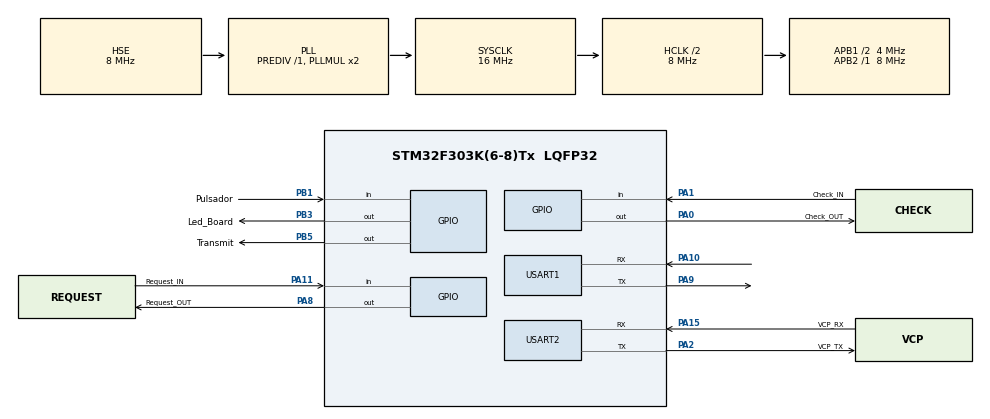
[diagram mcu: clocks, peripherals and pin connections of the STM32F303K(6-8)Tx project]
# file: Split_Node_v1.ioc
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Mcu.Family=STM32F3
Mcu.Name=STM32F303K(6-8)Tx
Mcu.Package=LQFP32
NVIC.PriorityGroup=NVIC_PRIORITYGROUP_4
NVIC.TIM7_DAC2_IRQn=true\:0\:0\:false\:false\:true\:true\:true
NVIC.USART1_IRQn=true\:0\:0\:false\:false\:true\:true\:true
PA0.GPIO_Label=Check_OUT
PA0.Signal=GPIO_Output
PA1.GPIO_Label=Check_IN
PA1.Signal=GPIO_Input
PA10.Mode=Asynchronous
PA10.Signal=USART1_RX
PA11.GPIO_Label=Request_IN
PA11.Signal=GPIO_Input
PA13.GPIO_Label=SWDIO
PA13.Mode=Serial_Wire
PA13.Signal=SYS_JTMS-SWDIO
PA14.GPIO_Label=SWCLK
PA14.Mode=Serial_Wire
PA14.Signal=SYS_JTCK-SWCLK
PA15.GPIO_Label=VCP_RX
PA15.Mode=Asynchronous
PA15.Signal=USART2_RX
PA2.GPIO_Label=VCP_TX
PA2.Mode=Asynchronous
PA2.Signal=USART2_TX
PA8.GPIO_Label=Request_OUT
PA8.Signal=GPIO_Output
PA9.Mode=Asynchronous
PA9.Signal=USART1_TX
PB1.GPIO_Label=Pulsador
PB1.Signal=GPIO_Input
PB3.GPIO_Label=Led_Board
PB3.Signal=GPIO_Output
PB5.GPIO_Label=Transmit
PB5.Signal=GPIO_Output
PF0\ /\ OSC_IN.GPIO_Label=MCO
PF0\ /\ OSC_IN.Mode=HSE-External-Oscillator
PF0\ /\ OSC_IN.Signal=RCC_OSC_IN
PF1\ /\ OSC_OUT.Mode=HSE-External-Oscillator
PF1\ /\ OSC_OUT.Signal=RCC_OSC_OUT
ProjectManager.HeapSize=0x200
ProjectManager.StackSize=0x400
ProjectManager.TargetToolchain=STM32CubeIDE
RCC.AHBCLKDivider=RCC_SYSCLK_DIV2
RCC.AHBFreq_Value=8000000
RCC.APB1CLKDivider=RCC_HCLK_DIV2
RCC.APB1Freq_Value=4000000
RCC.APB1TimFreq_Value=8000000
RCC.APB2Freq_Value=8000000
RCC.APB2TimFreq_Value=8000000
RCC.CortexFreq_Value=8000000
RCC.HCLKFreq_Value=8000000
RCC.HSE_VALUE=8000000
RCC.HSI_VALUE=8000000
RCC.PLLSourceVirtual=RCC_PLLSOURCE_HSE
RCC.SYSCLKFreq_VALUE=16000000
RCC.SYSCLKSourceVirtual=RCC_SYSCLKSOURCE_PLLCLK
TIM7.Period=10
TIM7.Prescaler=720
USART1.VirtualMode-Asynchronous=VM_ASYNC
USART2.VirtualMode-Asynchronous=VM_ASYNC
VP_TIM7_VS_ClockSourceINT.Mode=Enable_Timer
board=NUCLEO-F303K8

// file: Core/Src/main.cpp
/* USER CODE BEGIN Header */
/**
  ******************************************************************************
  * @file           : main.c
  * @brief          : Main program body
  ******************************************************************************
  * @attention
  *
  * <h2><center>&copy; Copyright (c) 2022 STMicroelectronics.
  * All rights reserved.</center></h2>
  *
  * This software component is licensed by ST under BSD 3-Clause license,
  * the "License"; You may not use this file except in compliance with the
  * License. You may obtain a copy of the License at:
  *                        opensource.org/licenses/BSD-3-Clause
  *
  ******************************************************************************
  */
/* USER CODE END Header */
#include "main.h"

/* USER CODE BEGIN Includes */
#include <stdint.h>
#include <stdio.h>
#include <string.h>

#include <prueba.h>

/* USER CODE END Includes */

TIM_HandleTypeDef htim7;

UART_HandleTypeDef huart1;
UART_HandleTypeDef huart2;

void SystemClock_Config(void);
static void MX_GPIO_Init(void);
static void MX_USART2_UART_Init(void);
static void MX_TIM7_Init(void);
static void MX_USART1_UART_Init(void);

/* USER CODE BEGIN 0 */

///////////////////////////////////////////////////////////////////////////////
///////////////////////////////////////////////////////////////////////////////

////////////--ID--//////////////////////

//ID actual node
uint8_t ID_node = 3;

//ID next node
uint8_t ID_next_node = 3;

//////////////////////////////////

//ID First node
uint8_t ID_first_node = 1;

//ID Final node
uint8_t ID_final_node = 3;

//ID Result node
uint8_t ID_result_node=0;

//Check if data is receive
uint8_t activate_data = 1;

//Listen Message Send
uint8_t Listen_msg_s[7];

//Listen Message Receive
uint8_t Listen_msg_r[7];

//Receive List
uint8_t receiveLIST[10];

// Send List
uint8_t sendLIST[10];

//Weight
double sendVAR = 0;

//Receive Var
double receiveVAR;

//Receive Weight split
uint8_t receiveWeight[8];

//Counter
uint8_t counterToggle2=0;

//Communication_Step
uint8_t Com_Step=0; // 0- Send to first node, 1- Send to next node
///////////////////////////////////////////////////////////////////////////////
///////////////////////////////////////////////////////////////////////////////

void HAL_UART_RxCpltCallback(UART_HandleTypeDef *huart) {
	while (HAL_UART_GetState(&huart1) == HAL_UART_STATE_BUSY_RX);
}

void HAL_UART_TxCpltCallback(UART_HandleTypeDef *huart) {
	while (HAL_UART_GetState(&huart1) == HAL_UART_STATE_BUSY_TX);
}

///////////////////////////////////////////////////////////////////////////////
///////////////////////////////////////////////////////////////////////////////
typedef enum{
	S0_HOME,

	S1_SEND_DATA_R,
	S1_SEND_DATA_R_Package,

	S2_RECE_DATA_R,
	S2_RECE_DATA_R_Package,
	S2_CHECK_Info,

	S3_END,

} STATES;

STATES NextState;

typedef union
{
    uint8_t split[8];
    double d_value;
} double_or_split;
///////////////////////////////////////////////////////////////////////////////
///////////////////////////////////////////////////////////////////////////////

/* USER CODE END 0 */

int main(void)
{

  /* MCU Configuration--------------------------------------------------------*/

  /* Reset of all peripherals, Initializes the Flash interface and the Systick. */
  HAL_Init();

  /* Configure the system clock */
  SystemClock_Config();

  /* Initialize all configured peripherals */
  MX_GPIO_Init();
  MX_USART2_UART_Init();
  MX_TIM7_Init();
  MX_USART1_UART_Init();
  /* USER CODE BEGIN 2 */

  /////////////////////////////////////////////////////
  // START COMUNICATION TIMER
  HAL_TIM_Base_Start_IT(&htim7);
  /////////////////////////////////////////////////////
  Listen_msg_s[0]=ID_first_node; //Next node
  Listen_msg_s[1]='s';
  Listen_msg_s[2]=ID_result_node; //Final to inference
  Listen_msg_s[3]=0; //Result
  Listen_msg_s[4]=0; //ValueResultA
  Listen_msg_s[5]=0; //ValueResultB
  Listen_msg_s[6]=0xAA;
  activate_data=0;

  double_or_split my_union= {0};

  NextState= S0_HOME;

  counterToggle2=0;

  sendVAR=Sebas();
  /////////////////////////////////////////////////////

  /* USER CODE END 2 */

  /* Infinite loop */
  /* USER CODE BEGIN WHILE */
  while (1){

	switch(NextState){

	/////////////////////////////////// HOME ////////////////////////////////////////////////////////
	case S0_HOME:
		Listen_msg_s[0]=ID_first_node;
		Listen_msg_s[2]=0;
		Listen_msg_s[3]=0;
		Listen_msg_s[4]=0;
		Listen_msg_s[5]=0;

		Listen_msg_r[0]=0;
		Listen_msg_r[1]=0;
		Listen_msg_r[2]=0;
		Listen_msg_r[3]=0;
		Listen_msg_r[4]=0;
		Listen_msg_r[5]=0;
		Listen_msg_r[6]=0;
		Listen_msg_r[7]=0;
		//Define Outputs
		HAL_GPIO_WritePin(Request_OUT_GPIO_Port, Request_OUT_Pin, GPIO_PIN_RESET);
		HAL_GPIO_WritePin(Check_OUT_GPIO_Port, Check_OUT_Pin, GPIO_PIN_RESET);

		//Define Events------------------
		//Receive Request
		if(HAL_GPIO_ReadPin(Request_IN_GPIO_Port, Request_IN_Pin)== GPIO_PIN_SET){
			NextState=S2_RECE_DATA_R;
		}
		//Capture Data Request
		else if(HAL_GPIO_ReadPin(Pulsador_GPIO_Port, Pulsador_Pin)==GPIO_PIN_SET){
			Listen_msg_s[2]=ID_node;
			ID_result_node=ID_node;
			if(ID_node==1)
			{
			Listen_msg_s[0]=ID_next_node;
			}
			NextState=S1_SEND_DATA_R;
		}
		else{
			NextState=S0_HOME;
		}
		break;

	/////////////////////////////////// TRANSMIT REQUEST ////////////////////////////////////////////////
	case S1_SEND_DATA_R:
		//Define Outputs
		HAL_GPIO_WritePin(Request_OUT_GPIO_Port, Request_OUT_Pin, GPIO_PIN_SET);
		HAL_GPIO_WritePin(Check_OUT_GPIO_Port, Check_OUT_Pin, GPIO_PIN_RESET);

		if(ID_node==ID_final_node && Listen_msg_s[3]==1)
		{
			//acabe
			if(HAL_GPIO_ReadPin(Check_IN_GPIO_Port, Check_IN_Pin)==GPIO_PIN_SET){
				counterToggle2=0;
				NextState=S3_END;
			}

		}
		else{
			//Define Events------------------
			if(HAL_GPIO_ReadPin(Check_IN_GPIO_Port, Check_IN_Pin)==GPIO_PIN_SET){
				NextState=S1_SEND_DATA_R_Package;
			}
			else{
				//HAL_GPIO_WritePin(Transmit_GPIO_Port, Transmit_Pin, GPIO_PIN_SET);
				//HAL_UART_Transmit(&huart1, Listen_msg_s, sizeof(Listen_msg_s),2000);
				NextState=S1_SEND_DATA_R;
			}
		}

		break;

	/////////////////////////////////// TRANSMIT DATA ///////////////////////////////////////////////////
	case S1_SEND_DATA_R_Package:
		//Define Outputs
		HAL_GPIO_WritePin(Request_OUT_GPIO_Port, Request_OUT_Pin, GPIO_PIN_SET);
		HAL_GPIO_WritePin(Check_OUT_GPIO_Port, Check_OUT_Pin, GPIO_PIN_RESET);

		//DO:
		sendVAR=1.98052;
		my_union.d_value = sendVAR;
		sendLIST[0]=0xAA;
		sendLIST[1]= my_union.split[0];
		sendLIST[2]= my_union.split[1];
		sendLIST[3]= my_union.split[2];
		sendLIST[4]= my_union.split[3];
		sendLIST[5]= my_union.split[4];
		sendLIST[6]= my_union.split[5];
		sendLIST[7]= my_union.split[6];
		sendLIST[8]= my_union.split[7];
		sendLIST[9]=0xAA;

		//HAL_GPIO_WritePin(Transmit_GPIO_Port, Transmit_Pin, GPIO_PIN_SET);
		//HAL_UART_Transmit(&huart1, sendLIST, sizeof(sendLIST),2000);

		//Define Events------------------
		if(HAL_GPIO_ReadPin(Check_IN_GPIO_Port, Check_IN_Pin)==GPIO_PIN_RESET){
			NextState=S0_HOME;
		}
		else{
			NextState=S1_SEND_DATA_R_Package;
		}
		break;

	/////////////////////////////////// RECEIVE REQUEST////////////////////////////////////////////////////////
	case S2_RECE_DATA_R:
		//Define Outputs
		HAL_GPIO_WritePin(Request_OUT_GPIO_Port, Request_OUT_Pin, GPIO_PIN_RESET);
		HAL_GPIO_WritePin(Check_OUT_GPIO_Port, Check_OUT_Pin, GPIO_PIN_RESET);

		//NextState=S0_HOME;
		//Enable for Receive Info
		if(HAL_UART_GetState(&huart1) != HAL_UART_STATE_BUSY)
		{
		if(Listen_msg_r[0]!=ID_node || Listen_msg_r[1]!='s'|| Listen_msg_r[6]!=0xAA){
		  //HAL_GPIO_WritePin(Enable_Msg_Transmit_GPIO_Port, Enable_Msg_Transmit_Pin, GPIO_PIN_RESET);
		  HAL_GPIO_WritePin(Transmit_GPIO_Port, Transmit_Pin, GPIO_PIN_RESET);
		  HAL_UART_Receive_IT(&huart1, Listen_msg_r, sizeof(Listen_msg_r));
			}
		}

		//Check receive request msg
		if(Listen_msg_r[0]==ID_node){
				if(Listen_msg_r[1]=='s'){
					if(Listen_msg_r[2]!=0){
						if(Listen_msg_r[6]==0xAA){

						ID_result_node=Listen_msg_r[2];

						//Receive All Data
						//Is final request with inference result?
						if(Listen_msg_r[3]==1)
						{
							HAL_GPIO_WritePin(Check_OUT_GPIO_Port, Check_OUT_Pin,GPIO_PIN_SET);
							NextState=S3_END;
							counterToggle2=0;
							break;
						}
						//Just one step in Queue
						else{
							Listen_msg_r[0]=0;
							Listen_msg_r[1]=0;
							Listen_msg_r[3]=0;
							Listen_msg_r[6]=0;
							NextState=S2_RECE_DATA_R_Package;
						}
					}}}}

		if(HAL_GPIO_ReadPin(Check_IN_GPIO_Port, Check_IN_Pin)==GPIO_PIN_SET)
		{
			NextState=S0_HOME;
		}
		break;

	/////////////////////////////////// RECEIVE DATA ////////////////////////////////////////////////////////
	case S2_RECE_DATA_R_Package:
	  //Define Outputs
	  HAL_GPIO_WritePin(Request_OUT_GPIO_Port, Request_OUT_Pin, GPIO_PIN_RESET);
	  HAL_GPIO_WritePin(Check_OUT_GPIO_Port, Check_OUT_Pin, GPIO_PIN_SET);

	  NextState=S2_RECE_DATA_R_Package;

	  //Enable for Receive Info
	  if(HAL_UART_GetState(&huart1) != HAL_UART_STATE_BUSY)
	  {
		if(receiveLIST[0]!=0xAA ||receiveLIST[9]!=0xAA ){
		  //HAL_GPIO_WritePin(Enable_Msg_Transmit_GPIO_Port, Enable_Msg_Transmit_Pin, GPIO_PIN_RESET);
		  HAL_GPIO_WritePin(Transmit_GPIO_Port, Transmit_Pin, GPIO_PIN_RESET);
		  HAL_UART_Receive_IT(&huart1, receiveLIST, sizeof(receiveLIST));
			}
	  }

		//Check receive request msg
		if(receiveLIST[0]==0xAA){
				if(receiveLIST[9]==0xAA){

					NextState= S2_CHECK_Info;

					receiveWeight[0]=receiveLIST[1];
					receiveWeight[1]=receiveLIST[2];
					receiveWeight[2]=receiveLIST[3];
					receiveWeight[3]=receiveLIST[4];
					receiveWeight[4]=receiveLIST[5];
					receiveWeight[5]=receiveLIST[6];
					receiveWeight[6]=receiveLIST[7];
					receiveWeight[7]=receiveLIST[8];

					memcpy(&receiveVAR,&receiveWeight,sizeof(receiveWeight));

					break;
				}
		}
		break;

	/////////////////////////////////// RECEIVE DATA ////////////////////////////////////////////////////////
	case S2_CHECK_Info:
		//Define Outputs
		  HAL_GPIO_WritePin(Request_OUT_GPIO_Port, Request_OUT_Pin, GPIO_PIN_RESET);
		  HAL_GPIO_WritePin(Check_OUT_GPIO_Port, Check_OUT_Pin, GPIO_PIN_RESET);

		  //Last node in NN Queue
		  if(ID_node==ID_final_node)
		  {
			  //This is the inference node?
			  if(ID_node==ID_result_node)
			  {
				  NextState=S3_END;
				  counterToggle2=0;
			  }
			  else{
		  //Send Result to final Node
			  Listen_msg_s[0]=ID_result_node;
			  Listen_msg_s[3]=1;
			  Listen_msg_s[2]=ID_result_node;
			  NextState=S1_SEND_DATA_R;
			  }
		  }
		else{
			Listen_msg_s[0]=ID_next_node;
			Listen_msg_s[2]=ID_result_node;
			NextState=S1_SEND_DATA_R;
		}
		break;

		/////////////////////////////////// END PROCESS ////////////////////////////////////////////////////////
	case S3_END:
		//Define Outputs
		HAL_GPIO_WritePin(Request_OUT_GPIO_Port, Request_OUT_Pin, GPIO_PIN_RESET);
		HAL_GPIO_WritePin(Check_OUT_GPIO_Port, Check_OUT_Pin, GPIO_PIN_RESET);

		if(counterToggle2<20)
		{
			HAL_GPIO_TogglePin(Led_Board_GPIO_Port, Led_Board_Pin);
			NextState=S3_END;
			counterToggle2=counterToggle2+1;
		}
		else
		{
			NextState=S0_HOME;
		}
		break;

	}

	HAL_Delay(10);

    /* USER CODE END WHILE */

  }
}

void SystemClock_Config(void)
{
  RCC_OscInitTypeDef RCC_OscInitStruct = {0};
  RCC_ClkInitTypeDef RCC_ClkInitStruct = {0};
  RCC_PeriphCLKInitTypeDef PeriphClkInit = {0};

  /** Initializes the RCC Oscillators according to the specified parameters
  * in the RCC_OscInitTypeDef structure.
  */
  RCC_OscInitStruct.OscillatorType = RCC_OSCILLATORTYPE_HSE;
  RCC_OscInitStruct.HSEState = RCC_HSE_ON;
  RCC_OscInitStruct.HSEPredivValue = RCC_HSE_PREDIV_DIV1;
  RCC_OscInitStruct.HSIState = RCC_HSI_ON;
  RCC_OscInitStruct.PLL.PLLState = RCC_PLL_ON;
  RCC_OscInitStruct.PLL.PLLSource = RCC_PLLSOURCE_HSE;
  RCC_OscInitStruct.PLL.PLLMUL = RCC_PLL_MUL2;
  if (HAL_RCC_OscConfig(&RCC_OscInitStruct) != HAL_OK)
  {
    Error_Handler();
  }
  /** Initializes the CPU, AHB and APB buses clocks
  */
  RCC_ClkInitStruct.ClockType = RCC_CLOCKTYPE_HCLK|RCC_CLOCKTYPE_SYSCLK
                              |RCC_CLOCKTYPE_PCLK1|RCC_CLOCKTYPE_PCLK2;
  RCC_ClkInitStruct.SYSCLKSource = RCC_SYSCLKSOURCE_PLLCLK;
  RCC_ClkInitStruct.AHBCLKDivider = RCC_SYSCLK_DIV2;
  RCC_ClkInitStruct.APB1CLKDivider = RCC_HCLK_DIV2;
  RCC_ClkInitStruct.APB2CLKDivider = RCC_HCLK_DIV1;

  if (HAL_RCC_ClockConfig(&RCC_ClkInitStruct, FLASH_LATENCY_0) != HAL_OK)
  {
    Error_Handler();
  }
  PeriphClkInit.PeriphClockSelection = RCC_PERIPHCLK_USART1;
  PeriphClkInit.Usart1ClockSelection = RCC_USART1CLKSOURCE_PCLK1;
  if (HAL_RCCEx_PeriphCLKConfig(&PeriphClkInit) != HAL_OK)
  {
    Error_Handler();
  }
}

static void MX_TIM7_Init(void)
{

  TIM_MasterConfigTypeDef sMasterConfig = {0};

  htim7.Instance = TIM7;
  htim7.Init.Prescaler = 720;
  htim7.Init.CounterMode = TIM_COUNTERMODE_UP;
  htim7.Init.Period = 10;
  htim7.Init.AutoReloadPreload = TIM_AUTORELOAD_PRELOAD_DISABLE;
  if (HAL_TIM_Base_Init(&htim7) != HAL_OK)
  {
    Error_Handler();
  }
  sMasterConfig.MasterOutputTrigger = TIM_TRGO_RESET;
  sMasterConfig.MasterSlaveMode = TIM_MASTERSLAVEMODE_DISABLE;
  if (HAL_TIMEx_MasterConfigSynchronization(&htim7, &sMasterConfig) != HAL_OK)
  {
    Error_Handler();
  }

}

static void MX_USART1_UART_Init(void)
{

  huart1.Instance = USART1;
  huart1.Init.BaudRate = 38400;
  huart1.Init.WordLength = UART_WORDLENGTH_8B;
  huart1.Init.StopBits = UART_STOPBITS_1;
  huart1.Init.Parity = UART_PARITY_NONE;
  huart1.Init.Mode = UART_MODE_TX_RX;
  huart1.Init.HwFlowCtl = UART_HWCONTROL_NONE;
  huart1.Init.OverSampling = UART_OVERSAMPLING_16;
  huart1.Init.OneBitSampling = UART_ONE_BIT_SAMPLE_DISABLE;
  huart1.AdvancedInit.AdvFeatureInit = UART_ADVFEATURE_NO_INIT;
  if (HAL_UART_Init(&huart1) != HAL_OK)
  {
    Error_Handler();
  }

}

static void MX_USART2_UART_Init(void)
{

  huart2.Instance = USART2;
  huart2.Init.BaudRate = 38400;
  huart2.Init.WordLength = UART_WORDLENGTH_8B;
  huart2.Init.StopBits = UART_STOPBITS_1;
  huart2.Init.Parity = UART_PARITY_NONE;
  huart2.Init.Mode = UART_MODE_TX_RX;
  huart2.Init.HwFlowCtl = UART_HWCONTROL_NONE;
  huart2.Init.OverSampling = UART_OVERSAMPLING_16;
  huart2.Init.OneBitSampling = UART_ONE_BIT_SAMPLE_DISABLE;
  huart2.AdvancedInit.AdvFeatureInit = UART_ADVFEATURE_NO_INIT;
  if (HAL_UART_Init(&huart2) != HAL_OK)
  {
    Error_Handler();
  }

}

static void MX_GPIO_Init(void)
{
  GPIO_InitTypeDef GPIO_InitStruct = {0};

  /* GPIO Ports Clock Enable */
  __HAL_RCC_GPIOF_CLK_ENABLE();
  __HAL_RCC_GPIOA_CLK_ENABLE();
  __HAL_RCC_GPIOB_CLK_ENABLE();

  /*Configure GPIO pin Output Level */
  HAL_GPIO_WritePin(GPIOA, Check_OUT_Pin|Request_OUT_Pin, GPIO_PIN_RESET);

  /*Configure GPIO pin Output Level */
  HAL_GPIO_WritePin(GPIOB, Led_Board_Pin|Transmit_Pin, GPIO_PIN_RESET);

  /*Configure GPIO pins : Check_OUT_Pin Request_OUT_Pin */
  GPIO_InitStruct.Pin = Check_OUT_Pin|Request_OUT_Pin;
  GPIO_InitStruct.Mode = GPIO_MODE_OUTPUT_PP;
  GPIO_InitStruct.Pull = GPIO_NOPULL;
  GPIO_InitStruct.Speed = GPIO_SPEED_FREQ_LOW;
  HAL_GPIO_Init(GPIOA, &GPIO_InitStruct);

  /*Configure GPIO pins : Check_IN_Pin Request_IN_Pin */
  GPIO_InitStruct.Pin = Check_IN_Pin|Request_IN_Pin;
  GPIO_InitStruct.Mode = GPIO_MODE_INPUT;
  GPIO_InitStruct.Pull = GPIO_NOPULL;
  HAL_GPIO_Init(GPIOA, &GPIO_InitStruct);

  /*Configure GPIO pin : Pulsador_Pin */
  GPIO_InitStruct.Pin = Pulsador_Pin;
  GPIO_InitStruct.Mode = GPIO_MODE_INPUT;
  GPIO_InitStruct.Pull = GPIO_NOPULL;
  HAL_GPIO_Init(Pulsador_GPIO_Port, &GPIO_InitStruct);

  /*Configure GPIO pins : Led_Board_Pin Transmit_Pin */
  GPIO_InitStruct.Pin = Led_Board_Pin|Transmit_Pin;
  GPIO_InitStruct.Mode = GPIO_MODE_OUTPUT_PP;
  GPIO_InitStruct.Pull = GPIO_NOPULL;
  GPIO_InitStruct.Speed = GPIO_SPEED_FREQ_LOW;
  HAL_GPIO_Init(GPIOB, &GPIO_InitStruct);

}

/* USER CODE BEGIN 4 */

///////////////////////////////////////////////////////////////////////////////
///////////////////////////////////////////////////////////////////////////////

void HAL_TIM_PeriodElapsedCallback(TIM_HandleTypeDef *htim)
{
	  if (htim == &htim7 )
	  {
		  if(NextState==S1_SEND_DATA_R)
		  {
			  if(HAL_UART_GetState(&huart1) != HAL_UART_STATE_BUSY)
			  {
				  HAL_GPIO_WritePin(Transmit_GPIO_Port, Transmit_Pin, GPIO_PIN_SET);
				  HAL_UART_Transmit_IT(&huart1, Listen_msg_s, sizeof(Listen_msg_s));
			  }
		  }
		  else if(NextState==S1_SEND_DATA_R_Package)
		  {
			  if(HAL_UART_GetState(&huart1) != HAL_UART_STATE_BUSY)
			  {
				  //HAL_GPIO_WritePin(Enable_Msg_Transmit_GPIO_Port, Enable_Msg_Transmit_Pin, GPIO_PIN_SET);
				  HAL_GPIO_WritePin(Transmit_GPIO_Port, Transmit_Pin, GPIO_PIN_SET);
				  HAL_UART_Transmit_IT(&huart1, sendLIST, sizeof(sendLIST));
			  }
		  }
	  }
}

///////////////////////////////////////////////////////////////////////////////
///////////////////////////////////////////////////////////////////////////////

/* USER CODE END 4 */

void Error_Handler(void)
{
  /* USER CODE BEGIN Error_Handler_Debug */
  /* User can add his own implementation to report the HAL error return state */
  //__disable_irq();
  //while (1)
  //{
  //}
  /* USER CODE END Error_Handler_Debug */
}

/************************ (C) COPYRIGHT STMicroelectronics *****END OF FILE****/
